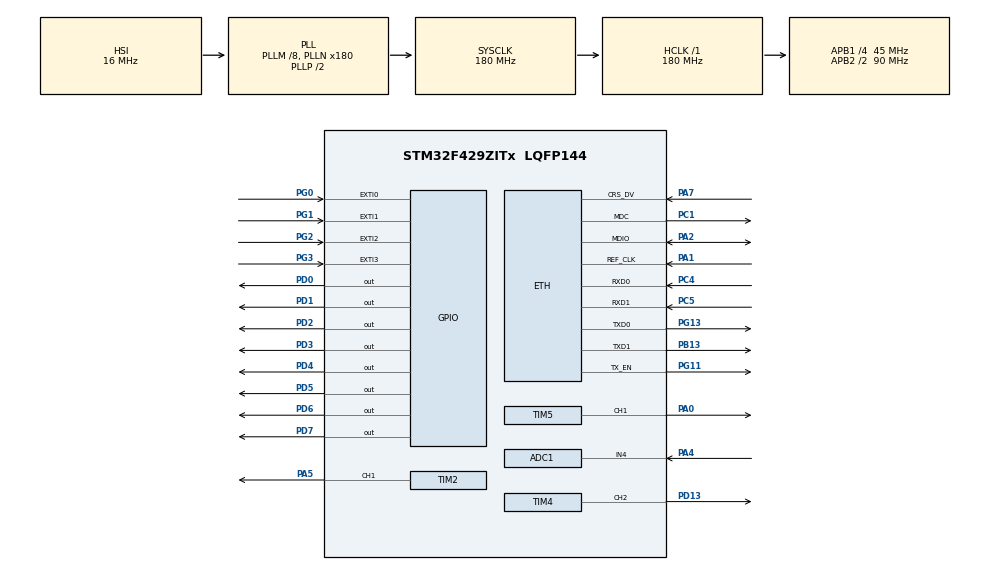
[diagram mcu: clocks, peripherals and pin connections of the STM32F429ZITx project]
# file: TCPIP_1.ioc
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ADC1.Channel-2\#ChannelRegularConversion=ADC_CHANNEL_4
ADC1.NbrOfConversionFlag=1
ADC1.Rank-2\#ChannelRegularConversion=1
ADC1.SamplingTime-2\#ChannelRegularConversion=ADC_SAMPLETIME_3CYCLES
ADC1.master=1
ETH.MediaInterface=HAL_ETH_RMII_MODE
LWIP.BSP.number=1
LWIP.GATEWAY_ADDRESS=192.168.037.001
LWIP.IP_ADDRESS=192.168.037.012
LWIP.LWIP_DHCP=0
LWIP.NETMASK_ADDRESS=255.255.255.000
LWIP.Version=v2.1.2_Cube
LWIP0.BSP.STBoard=false
LWIP0.BSP.api=BSP_COMPONENT_DRIVER
LWIP0.BSP.component=LAN8742
LWIP0.BSP.instance=LAN8742
LWIP0.BSP.name=Driver_PHY
LWIP0.BSP.semaphore=S_LAN8742
LWIP0.BSP.solution=LAN8742
Mcu.Family=STM32F4
Mcu.Name=STM32F429ZITx
Mcu.Package=LQFP144
NVIC.EXTI0_IRQn=true\:0\:0\:false\:false\:true\:true\:true\:true
NVIC.EXTI1_IRQn=true\:0\:0\:false\:false\:true\:true\:true\:true
NVIC.EXTI2_IRQn=true\:0\:0\:false\:false\:true\:true\:true\:true
NVIC.EXTI3_IRQn=true\:0\:0\:false\:false\:true\:true\:true\:true
NVIC.PriorityGroup=NVIC_PRIORITYGROUP_4
NVIC.TIM2_IRQn=true\:0\:0\:false\:false\:true\:true\:true\:true
NVIC.TIM4_IRQn=true\:0\:0\:false\:false\:true\:true\:true\:true
NVIC.TIM5_IRQn=true\:0\:0\:false\:false\:true\:true\:true\:true
PA0/WKUP.Signal=S_TIM5_CH1
PA1.Mode=RMII
PA1.Signal=ETH_REF_CLK
PA13.Mode=Serial_Wire
PA13.Signal=SYS_JTMS-SWDIO
PA14.Mode=Serial_Wire
PA14.Signal=SYS_JTCK-SWCLK
PA2.Mode=RMII
PA2.Signal=ETH_MDIO
PA4.Signal=ADCx_IN4
PA5.Signal=S_TIM2_CH1_ETR
PA7.Mode=RMII
PA7.Signal=ETH_CRS_DV
PB13.Mode=RMII
PB13.Signal=ETH_TXD1
PC1.Mode=RMII
PC1.Signal=ETH_MDC
PC4.Mode=RMII
PC4.Signal=ETH_RXD0
PC5.Mode=RMII
PC5.Signal=ETH_RXD1
PD0.GPIO_ModeDefaultOutputPP=GPIO_MODE_OUTPUT_PP
PD0.GPIO_PuPd=GPIO_PULLUP
PD0.GPIO_Speed=GPIO_SPEED_FREQ_HIGH
PD0.PinState=GPIO_PIN_RESET
PD0.Signal=GPIO_Output
PD1.GPIO_ModeDefaultOutputPP=GPIO_MODE_OUTPUT_PP
PD1.GPIO_PuPd=GPIO_PULLUP
PD1.GPIO_Speed=GPIO_SPEED_FREQ_HIGH
PD1.PinState=GPIO_PIN_RESET
PD1.Signal=GPIO_Output
PD13.Signal=S_TIM4_CH2
PD2.GPIO_ModeDefaultOutputPP=GPIO_MODE_OUTPUT_PP
PD2.GPIO_PuPd=GPIO_PULLUP
PD2.GPIO_Speed=GPIO_SPEED_FREQ_HIGH
PD2.PinState=GPIO_PIN_RESET
PD2.Signal=GPIO_Output
PD3.GPIO_ModeDefaultOutputPP=GPIO_MODE_OUTPUT_PP
PD3.GPIO_PuPd=GPIO_PULLUP
PD3.GPIO_Speed=GPIO_SPEED_FREQ_HIGH
PD3.PinState=GPIO_PIN_RESET
PD3.Signal=GPIO_Output
PD4.GPIO_ModeDefaultOutputPP=GPIO_MODE_OUTPUT_PP
PD4.GPIO_PuPd=GPIO_PULLUP
PD4.GPIO_Speed=GPIO_SPEED_FREQ_HIGH
PD4.PinState=GPIO_PIN_RESET
PD4.Signal=GPIO_Output
PD5.GPIO_ModeDefaultOutputPP=GPIO_MODE_OUTPUT_PP
PD5.GPIO_PuPd=GPIO_PULLUP
PD5.GPIO_Speed=GPIO_SPEED_FREQ_HIGH
PD5.PinState=GPIO_PIN_RESET
PD5.Signal=GPIO_Output
PD6.GPIO_ModeDefaultOutputPP=GPIO_MODE_OUTPUT_PP
PD6.GPIO_PuPd=GPIO_PULLUP
PD6.GPIO_Speed=GPIO_SPEED_FREQ_HIGH
PD6.PinState=GPIO_PIN_RESET
PD6.Signal=GPIO_Output
PD7.GPIO_ModeDefaultOutputPP=GPIO_MODE_OUTPUT_PP
PD7.GPIO_PuPd=GPIO_PULLUP
PD7.GPIO_Speed=GPIO_SPEED_FREQ_HIGH
PD7.PinState=GPIO_PIN_RESET
PD7.Signal=GPIO_Output
PG0.GPIO_ModeDefaultEXTI=GPIO_MODE_IT_FALLING
PG0.GPIO_PuPd=GPIO_NOPULL
PG0.Signal=GPXTI0
PG1.GPIO_ModeDefaultEXTI=GPIO_MODE_IT_FALLING
PG1.GPIO_PuPd=GPIO_NOPULL
PG1.Signal=GPXTI1
PG11.Mode=RMII
PG11.Signal=ETH_TX_EN
PG13.Mode=RMII
PG13.Signal=ETH_TXD0
PG2.GPIO_ModeDefaultEXTI=GPIO_MODE_IT_FALLING
PG2.GPIO_PuPd=GPIO_NOPULL
PG2.Signal=GPXTI2
PG3.GPIO_ModeDefaultEXTI=GPIO_MODE_IT_FALLING
PG3.GPIO_PuPd=GPIO_NOPULL
PG3.Signal=GPXTI3
ProjectManager.HeapSize=0x200
ProjectManager.StackSize=0x400
ProjectManager.TargetToolchain=STM32CubeIDE
RCC.48MHZClocksFreq_Value=90000000
RCC.AHBFreq_Value=180000000
RCC.APB1CLKDivider=RCC_HCLK_DIV4
RCC.APB1Freq_Value=45000000
RCC.APB1TimFreq_Value=90000000
RCC.APB2CLKDivider=RCC_HCLK_DIV2
RCC.APB2Freq_Value=90000000
RCC.APB2TimFreq_Value=180000000
RCC.CortexFreq_Value=180000000
RCC.HCLKFreq_Value=180000000
RCC.HSE_VALUE=25000000
RCC.HSI_VALUE=16000000
RCC.LSE_VALUE=32768
RCC.PLLM=8
RCC.PLLN=180
RCC.SYSCLKFreq_VALUE=180000000
RCC.SYSCLKSource=RCC_SYSCLKSOURCE_PLLCLK
RCC.VCOOutputFreq_Value=360000000
SH.ADCx_IN4.0=ADC1_IN4,IN4
SH.S_TIM2_CH1_ETR.0=TIM2_CH1,PWM Generation1 CH1
SH.S_TIM4_CH2.0=TIM4_CH2,PWM Generation2 CH2
SH.S_TIM5_CH1.0=TIM5_CH1,PWM Generation1 CH1
TIM2.Channel-PWM\ Generation1\ CH1=TIM_CHANNEL_1
TIM4.Channel-PWM\ Generation2\ CH2=TIM_CHANNEL_2
TIM4.Period=1000-1
TIM4.Prescaler=320-1
TIM4.Pulse-PWM\ Generation2\ CH2=500-1
TIM5.Channel-PWM\ Generation1\ CH1=TIM_CHANNEL_1
TIM5.Period=10000-1
TIM5.Prescaler=90-1
TIM5.Pulse-PWM\ Generation1\ CH1=5
VP_LWIP_VS_Enabled.Mode=Enabled
VP_TIM2_VS_ClockSourceINT.Mode=Internal
VP_TIM5_VS_ClockSourceINT.Mode=Internal
board=custom

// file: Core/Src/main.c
/* USER CODE BEGIN Header */
/**
  ******************************************************************************
  * @file           : main.c
  * @brief          : Main program body
  ******************************************************************************
  * @attention
  *
  * Copyright (c) 2022 STMicroelectronics.
  * All rights reserved.
  *
  * This software is licensed under terms that can be found in the LICENSE file
  * in the root directory of this software component.
  * If no LICENSE file comes with this software, it is provided AS-IS.
  *
  ******************************************************************************
  */
/* USER CODE END Header */
#include "main.h"
#include "lwip.h"
#include "defines.h"
#include "tm_stm32f4_rng.h"

/* USER CODE BEGIN Includes */
#include "tcp_echoclient.h"
/* USER CODE END Includes */

ADC_HandleTypeDef hadc1;

TIM_HandleTypeDef htim2;
TIM_HandleTypeDef htim4;
TIM_HandleTypeDef htim5;

/* USER CODE BEGIN PV */
struct netif gnetif;
uint8_t dir = 0;
uint16_t interval = 50;
int16_t temp_Interval;
int32_t temp_CCR = 0;
uint32_t turningPoint = 2000;
/* USER CODE END PV */

void SystemClock_Config(void);
static void MX_GPIO_Init(void);
static void MX_TIM4_Init(void);
static void MX_TIM2_Init(void);
static void MX_TIM5_Init(void);
static void MX_ADC1_Init(void);
/* USER CODE BEGIN PFP */
void LED_OnOff(int, int);
void User_notification(struct netif *netif);
//int _write(int file, char* p, int len)
//{
//	if(HAL_UART_Transmit(&huart3, (uint8_t *)p, len, 10) == HAL_OK ) return len;
//	else return 0;
//}
/* USER CODE END PFP */

int main(void)
{
  /* USER CODE BEGIN 1 */
	uint16_t led = 0x01;
  /* USER CODE END 1 */

  /* MCU Configuration--------------------------------------------------------*/

  /* Reset of all peripherals, Initializes the Flash interface and the Systick. */
  HAL_Init();

  /* Configure the system clock */
  SystemClock_Config();

  /* Initialize all configured peripherals */
  MX_GPIO_Init();
  MX_LWIP_Init();
  MX_TIM4_Init();
  MX_TIM2_Init();
  MX_TIM5_Init();
  MX_ADC1_Init();
  /* USER CODE BEGIN 2 */
  LED_OnOff(LED_ALL, 500);
  User_notification(&gnetif);
  tcp_echoclient_connect();
  HAL_TIM_PWM_Start(&htim5, TIM_CHANNEL_1);

  /* USER CODE END 2 */

  /* Infinite loop */
  /* USER CODE BEGIN WHILE */
  while (1)
  {
//	  if(temp_CCR >= (TIM5->ARR + 1))
//		  {
//			temp_CCR = TIM5->ARR + 1;	// 10000
//			temp_Interval = -interval;
//		  }
//		  else if(temp_CCR <= turningPoint)
//		  {
//			temp_CCR = turningPoint;
//			temp_Interval = interval;
//			dir = !dir;
//			HAL_GPIO_WritePin(GPIOG, GPIO_PIN_10, dir);
//		  }
//		  temp_CCR += temp_Interval;
//		  if(temp_CCR == 0)
//		  {
//			  TIM5->CCR1 = temp_CCR;
//		  }
//		  else
//		  {
//			  TIM5->CCR1 = temp_CCR - 1;
//		  }
//
//		  printf("Compare : %4d | TEMP : %5d | DIR :%d\r\n", (int)TIM5->CCR1, (int)temp_CCR ,dir);
//		  HAL_Delay(10);

	  MX_LWIP_Process();
	  int count = 1;
	  if(count >= 0){
		  led<<=1;
		  if(led>0x80){
			  led=0x01;
		  }
	  }
    /* USER CODE END WHILE */

  }
}

void SystemClock_Config(void)
{
  RCC_OscInitTypeDef RCC_OscInitStruct = {0};
  RCC_ClkInitTypeDef RCC_ClkInitStruct = {0};

  /** Configure the main internal regulator output voltage
  */
  __HAL_RCC_PWR_CLK_ENABLE();
  __HAL_PWR_VOLTAGESCALING_CONFIG(PWR_REGULATOR_VOLTAGE_SCALE1);

  /** Initializes the RCC Oscillators according to the specified parameters
  * in the RCC_OscInitTypeDef structure.
  */
  RCC_OscInitStruct.OscillatorType = RCC_OSCILLATORTYPE_HSI;
  RCC_OscInitStruct.HSIState = RCC_HSI_ON;
  RCC_OscInitStruct.HSICalibrationValue = RCC_HSICALIBRATION_DEFAULT;
  RCC_OscInitStruct.PLL.PLLState = RCC_PLL_ON;
  RCC_OscInitStruct.PLL.PLLSource = RCC_PLLSOURCE_HSI;
  RCC_OscInitStruct.PLL.PLLM = 8;
  RCC_OscInitStruct.PLL.PLLN = 180;
  RCC_OscInitStruct.PLL.PLLP = RCC_PLLP_DIV2;
  RCC_OscInitStruct.PLL.PLLQ = 4;
  if (HAL_RCC_OscConfig(&RCC_OscInitStruct) != HAL_OK)
  {
    Error_Handler();
  }

  /** Activate the Over-Drive mode
  */
  if (HAL_PWREx_EnableOverDrive() != HAL_OK)
  {
    Error_Handler();
  }

  /** Initializes the CPU, AHB and APB buses clocks
  */
  RCC_ClkInitStruct.ClockType = RCC_CLOCKTYPE_HCLK|RCC_CLOCKTYPE_SYSCLK
                              |RCC_CLOCKTYPE_PCLK1|RCC_CLOCKTYPE_PCLK2;
  RCC_ClkInitStruct.SYSCLKSource = RCC_SYSCLKSOURCE_PLLCLK;
  RCC_ClkInitStruct.AHBCLKDivider = RCC_SYSCLK_DIV1;
  RCC_ClkInitStruct.APB1CLKDivider = RCC_HCLK_DIV4;
  RCC_ClkInitStruct.APB2CLKDivider = RCC_HCLK_DIV2;

  if (HAL_RCC_ClockConfig(&RCC_ClkInitStruct, FLASH_LATENCY_5) != HAL_OK)
  {
    Error_Handler();
  }
}

static void MX_ADC1_Init(void)
{

  ADC_ChannelConfTypeDef sConfig = {0};

  /** Configure the global features of the ADC (Clock, Resolution, Data Alignment and number of conversion)
  */
  hadc1.Instance = ADC1;
  hadc1.Init.ClockPrescaler = ADC_CLOCK_SYNC_PCLK_DIV4;
  hadc1.Init.Resolution = ADC_RESOLUTION_12B;
  hadc1.Init.ScanConvMode = DISABLE;
  hadc1.Init.ContinuousConvMode = DISABLE;
  hadc1.Init.DiscontinuousConvMode = DISABLE;
  hadc1.Init.ExternalTrigConvEdge = ADC_EXTERNALTRIGCONVEDGE_NONE;
  hadc1.Init.ExternalTrigConv = ADC_SOFTWARE_START;
  hadc1.Init.DataAlign = ADC_DATAALIGN_RIGHT;
  hadc1.Init.NbrOfConversion = 1;
  hadc1.Init.DMAContinuousRequests = DISABLE;
  hadc1.Init.EOCSelection = ADC_EOC_SINGLE_CONV;
  if (HAL_ADC_Init(&hadc1) != HAL_OK)
  {
    Error_Handler();
  }

  /** Configure for the selected ADC regular channel its corresponding rank in the sequencer and its sample time.
  */
  sConfig.Channel = ADC_CHANNEL_4;
  sConfig.Rank = 1;
  sConfig.SamplingTime = ADC_SAMPLETIME_3CYCLES;
  if (HAL_ADC_ConfigChannel(&hadc1, &sConfig) != HAL_OK)
  {
    Error_Handler();
  }

}

static void MX_TIM2_Init(void)
{

  TIM_ClockConfigTypeDef sClockSourceConfig = {0};
  TIM_MasterConfigTypeDef sMasterConfig = {0};
  TIM_OC_InitTypeDef sConfigOC = {0};

  htim2.Instance = TIM2;
  htim2.Init.Prescaler = 0;
  htim2.Init.CounterMode = TIM_COUNTERMODE_UP;
  htim2.Init.Period = 4294967295;
  htim2.Init.ClockDivision = TIM_CLOCKDIVISION_DIV1;
  htim2.Init.AutoReloadPreload = TIM_AUTORELOAD_PRELOAD_DISABLE;
  if (HAL_TIM_Base_Init(&htim2) != HAL_OK)
  {
    Error_Handler();
  }
  sClockSourceConfig.ClockSource = TIM_CLOCKSOURCE_INTERNAL;
  if (HAL_TIM_ConfigClockSource(&htim2, &sClockSourceConfig) != HAL_OK)
  {
    Error_Handler();
  }
  if (HAL_TIM_PWM_Init(&htim2) != HAL_OK)
  {
    Error_Handler();
  }
  sMasterConfig.MasterOutputTrigger = TIM_TRGO_RESET;
  sMasterConfig.MasterSlaveMode = TIM_MASTERSLAVEMODE_DISABLE;
  if (HAL_TIMEx_MasterConfigSynchronization(&htim2, &sMasterConfig) != HAL_OK)
  {
    Error_Handler();
  }
  sConfigOC.OCMode = TIM_OCMODE_PWM1;
  sConfigOC.Pulse = 0;
  sConfigOC.OCPolarity = TIM_OCPOLARITY_HIGH;
  sConfigOC.OCFastMode = TIM_OCFAST_DISABLE;
  if (HAL_TIM_PWM_ConfigChannel(&htim2, &sConfigOC, TIM_CHANNEL_1) != HAL_OK)
  {
    Error_Handler();
  }
  HAL_TIM_MspPostInit(&htim2);

}

static void MX_TIM4_Init(void)
{

  TIM_MasterConfigTypeDef sMasterConfig = {0};
  TIM_OC_InitTypeDef sConfigOC = {0};

  htim4.Instance = TIM4;
  htim4.Init.Prescaler = 320-1;
  htim4.Init.CounterMode = TIM_COUNTERMODE_UP;
  htim4.Init.Period = 1000-1;
  htim4.Init.ClockDivision = TIM_CLOCKDIVISION_DIV1;
  htim4.Init.AutoReloadPreload = TIM_AUTORELOAD_PRELOAD_DISABLE;
  if (HAL_TIM_PWM_Init(&htim4) != HAL_OK)
  {
    Error_Handler();
  }
  sMasterConfig.MasterOutputTrigger = TIM_TRGO_RESET;
  sMasterConfig.MasterSlaveMode = TIM_MASTERSLAVEMODE_DISABLE;
  if (HAL_TIMEx_MasterConfigSynchronization(&htim4, &sMasterConfig) != HAL_OK)
  {
    Error_Handler();
  }
  sConfigOC.OCMode = TIM_OCMODE_PWM1;
  sConfigOC.Pulse = 500-1;
  sConfigOC.OCPolarity = TIM_OCPOLARITY_HIGH;
  sConfigOC.OCFastMode = TIM_OCFAST_DISABLE;
  if (HAL_TIM_PWM_ConfigChannel(&htim4, &sConfigOC, TIM_CHANNEL_2) != HAL_OK)
  {
    Error_Handler();
  }
  HAL_TIM_MspPostInit(&htim4);

}

static void MX_TIM5_Init(void)
{

  TIM_ClockConfigTypeDef sClockSourceConfig = {0};
  TIM_MasterConfigTypeDef sMasterConfig = {0};
  TIM_OC_InitTypeDef sConfigOC = {0};

  htim5.Instance = TIM5;
  htim5.Init.Prescaler = 90-1;
  htim5.Init.CounterMode = TIM_COUNTERMODE_UP;
  htim5.Init.Period = 10000-1;
  htim5.Init.ClockDivision = TIM_CLOCKDIVISION_DIV1;
  htim5.Init.AutoReloadPreload = TIM_AUTORELOAD_PRELOAD_DISABLE;
  if (HAL_TIM_Base_Init(&htim5) != HAL_OK)
  {
    Error_Handler();
  }
  sClockSourceConfig.ClockSource = TIM_CLOCKSOURCE_INTERNAL;
  if (HAL_TIM_ConfigClockSource(&htim5, &sClockSourceConfig) != HAL_OK)
  {
    Error_Handler();
  }
  if (HAL_TIM_PWM_Init(&htim5) != HAL_OK)
  {
    Error_Handler();
  }
  sMasterConfig.MasterOutputTrigger = TIM_TRGO_RESET;
  sMasterConfig.MasterSlaveMode = TIM_MASTERSLAVEMODE_DISABLE;
  if (HAL_TIMEx_MasterConfigSynchronization(&htim5, &sMasterConfig) != HAL_OK)
  {
    Error_Handler();
  }
  sConfigOC.OCMode = TIM_OCMODE_PWM1;
  sConfigOC.Pulse = 5;
  sConfigOC.OCPolarity = TIM_OCPOLARITY_HIGH;
  sConfigOC.OCFastMode = TIM_OCFAST_DISABLE;
  if (HAL_TIM_PWM_ConfigChannel(&htim5, &sConfigOC, TIM_CHANNEL_1) != HAL_OK)
  {
    Error_Handler();
  }
  HAL_TIM_MspPostInit(&htim5);

}

static void MX_GPIO_Init(void)
{
  GPIO_InitTypeDef GPIO_InitStruct = {0};

  /* GPIO Ports Clock Enable */
  __HAL_RCC_GPIOC_CLK_ENABLE();
  __HAL_RCC_GPIOA_CLK_ENABLE();
  __HAL_RCC_GPIOG_CLK_ENABLE();
  __HAL_RCC_GPIOB_CLK_ENABLE();
  __HAL_RCC_GPIOD_CLK_ENABLE();

  /*Configure GPIO pin Output Level */
  HAL_GPIO_WritePin(GPIOD, GPIO_PIN_0|GPIO_PIN_1|GPIO_PIN_2|GPIO_PIN_3
                          |GPIO_PIN_4|GPIO_PIN_5|GPIO_PIN_6|GPIO_PIN_7, GPIO_PIN_RESET);

  /*Configure GPIO pins : PG0 PG1 PG2 PG3 */
  GPIO_InitStruct.Pin = GPIO_PIN_0|GPIO_PIN_1|GPIO_PIN_2|GPIO_PIN_3;
  GPIO_InitStruct.Mode = GPIO_MODE_IT_FALLING;
  GPIO_InitStruct.Pull = GPIO_NOPULL;
  HAL_GPIO_Init(GPIOG, &GPIO_InitStruct);

  /*Configure GPIO pins : PD0 PD1 PD2 PD3
                           PD4 PD5 PD6 PD7 */
  GPIO_InitStruct.Pin = GPIO_PIN_0|GPIO_PIN_1|GPIO_PIN_2|GPIO_PIN_3
                          |GPIO_PIN_4|GPIO_PIN_5|GPIO_PIN_6|GPIO_PIN_7;
  GPIO_InitStruct.Mode = GPIO_MODE_OUTPUT_PP;
  GPIO_InitStruct.Pull = GPIO_PULLUP;
  GPIO_InitStruct.Speed = GPIO_SPEED_FREQ_HIGH;
  HAL_GPIO_Init(GPIOD, &GPIO_InitStruct);

  /* EXTI interrupt init*/
  HAL_NVIC_SetPriority(EXTI0_IRQn, 0, 0);
  HAL_NVIC_EnableIRQ(EXTI0_IRQn);

  HAL_NVIC_SetPriority(EXTI1_IRQn, 0, 0);
  HAL_NVIC_EnableIRQ(EXTI1_IRQn);

  HAL_NVIC_SetPriority(EXTI2_IRQn, 0, 0);
  HAL_NVIC_EnableIRQ(EXTI2_IRQn);

  HAL_NVIC_SetPriority(EXTI3_IRQn, 0, 0);
  HAL_NVIC_EnableIRQ(EXTI3_IRQn);

}

/* USER CODE BEGIN 4 */
void LED_OnOff(int led, int interval)
{
	HAL_GPIO_WritePin(GPIO_LED, led, GPIO_PIN_SET);
	HAL_Delay(interval);
	HAL_GPIO_WritePin(GPIO_LED, led, GPIO_PIN_RESET);
}

void User_notification(struct netif *netif)
{
	if(netif_is_up(netif)){
		HAL_GPIO_WritePin(GPIO_LED, LED7, GPIO_PIN_SET);
		HAL_Delay(500);
		HAL_GPIO_WritePin(GPIO_LED, LED7, GPIO_PIN_RESET);
	}
	else{
		HAL_GPIO_WritePin(GPIO_LED, LED8, GPIO_PIN_SET);
	}
}
/* USER CODE END 4 */

void Error_Handler(void)
{
  __disable_irq();
  while (1)
  {
  }
}
